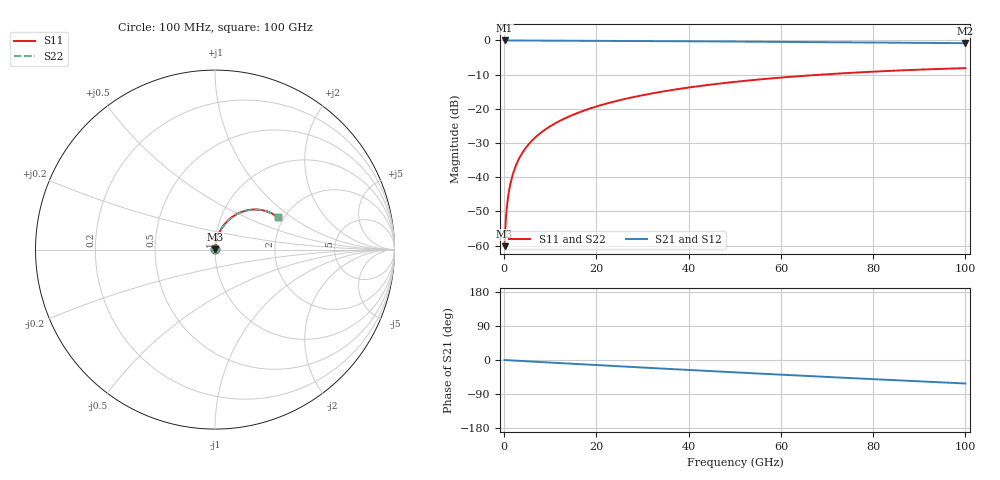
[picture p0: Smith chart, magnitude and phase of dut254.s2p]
! Touchstone file exported from HFSS 2026.1.0
!  File:  C:/ffzhzh/LocalFiles/Ansys_Project_Files/temp_train_RDL_254_1783501564_55944.aedt
!  Generated:  05:07:12 PM Jul  8, 2026
!  Design:  RDL
!  Project:  temp_train_RDL_254_1783501564_55944
! Variables:
!  h_bsmrdl = 2um
!  h_ox = 20um
!  h_rdl = 5um
!  h_sub = 80um
!  h_tmrdl = 4.51um
!  h_tsv = 80um
!  h_via = 3um
!  l_bsmrdl = 300um
!  l_sub = 579.38um
!  l_tmrdl = 179.38um
!  m_sub = 200um
!  pitch = 45.97um
!  r_tsv = 6um
!  s_tmrdl = 10um
!  w_bsmrdl = 18um
!  w_sub = 500um
!  w_tmrdl = 26.45um
!  x_tsv_center1 = 192.605um
!  x_tsv_center2 = 510.605um
!  x_tsv_center3 = 716.435um
!  x_tsv_center4 = 1034.435um
!  x_tsv_center5 = 1240.265um
!  x_tsv_center6 = 1558.265um
# GHz S MA R 50.000000
! Terminal data exported
! Port[1] = TM_RDL1_1_T1
! Port[2] = TM_RDL1_1_T2
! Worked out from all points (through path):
!   1000 points, 100 MHz to 100 GHz, reference 50 ohm
!   highest |S21| = -0.01 dB at 100 MHz (marker M1); lowest = -0.8 dB at 100 GHz (marker M2)
!   group delay of S21, straight-line fit = 1.72 ps
!   lowest |S11| = -60.2 dB at 100 MHz (marker M3), VSWR 1.00, Z = 50.1 + j0.0664 ohm
!   |S11| at or under -10 dB: start of sweep to 68.7 GHz
!   |S22| runs from -60.2 to -8.1 dB; largest |S21 - S12| = 7.7e-15
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0.1  0.0009829 42.4  0.9993 -0.1  0.9993 -0.1  0.0009829 42.4
! Gamma 0 0 0 0
! Port Impedance 50 0 50 0
0.4  0.002588 70.2  0.9991 -0.3  0.9991 -0.3  0.002588 70.2
0.7  0.004259 77.0  0.9991 -0.5  0.9991 -0.5  0.004259 77.0
0.9  0.005394 79.2  0.999 -0.6  0.999 -0.6  0.005394 79.2
1.2  0.007109 81.2  0.999 -0.8  0.999 -0.8  0.007109 81.2
1.5  0.008831 82.2  0.9989 -1.0  0.9989 -1.0  0.008831 82.2
2  0.0117 83.1  0.9988 -1.4  0.9988 -1.4  0.0117 83.1
2.5  0.01455 83.4  0.9987 -1.7  0.9987 -1.7  0.01455 83.4
3.2  0.01852 83.5  0.9984 -2.2  0.9984 -2.2  0.01852 83.5
4  0.02301 83.3  0.9982 -2.7  0.9982 -2.7  0.02301 83.3
5  0.02856 82.9  0.9978 -3.4  0.9978 -3.4  0.02856 82.9
6.1  0.0346 82.4  0.9973 -4.2  0.9973 -4.2  0.0346 82.4
8.9  0.04978 81.0  0.9962 -6.0  0.9962 -6.0  0.04978 81.0
12.4  0.06848 79.0  0.9945 -8.4  0.9945 -8.4  0.06848 79.0
16.8  0.09164 76.5  0.9921 -11.3  0.9921 -11.3  0.09164 76.4
24.2  0.1296 72.0  0.9872 -16.1  0.9872 -16.1  0.1296 71.9
33.4  0.1745 66.3  0.9796 -22.1  0.9796 -22.1  0.1745 66.2
41.2  0.2103 61.5  0.9721 -27.1  0.9721 -27.1  0.2103 61.4
50.1  0.2482 56.0  0.9627 -32.6  0.9627 -32.6  0.2482 56.0
66.7  0.3097 46.1  0.9442 -42.7  0.9442 -42.7  0.3097 46.1
83.4  0.3585 36.5  0.9265 -52.5  0.9265 -52.5  0.3585 36.4
100  0.3937 27.2  0.9119 -62.0  0.9119 -62.0  0.3937 27.1
